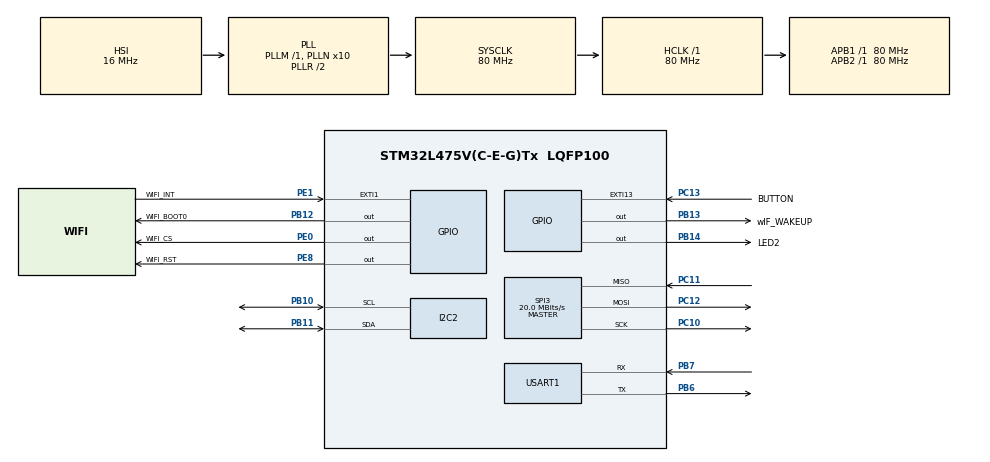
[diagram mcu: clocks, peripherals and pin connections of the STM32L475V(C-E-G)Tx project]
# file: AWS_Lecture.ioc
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FREERTOS.Tasks01=defaultTask,0,2048,StartDefaultTask,Default,NULL,Dynamic,NULL,NULL
FREERTOS.configTOTAL_HEAP_SIZE=51200
Mcu.Family=STM32L4
Mcu.Name=STM32L475V(C-E-G)Tx
Mcu.Package=LQFP100
NVIC.EXTI15_10_IRQn=true\:5\:0\:false\:false\:true\:true\:true\:true
NVIC.EXTI1_IRQn=true\:5\:0\:false\:false\:true\:true\:true\:true
NVIC.PriorityGroup=NVIC_PRIORITYGROUP_4
NVIC.SPI3_IRQn=true\:5\:0\:false\:false\:true\:true\:true\:true
NVIC.TIM6_DAC_IRQn=true\:0\:0\:false\:false\:true\:false\:false\:true
NVIC.TimeBase=TIM6_DAC_IRQn
NVIC.TimeBaseIP=TIM6
PA13\ (JTMS-SWDIO).Mode=Serial_Wire
PA13\ (JTMS-SWDIO).Signal=SYS_JTMS-SWDIO
PA14\ (JTCK-SWCLK).Mode=Serial_Wire
PA14\ (JTCK-SWCLK).Signal=SYS_JTCK-SWCLK
PB10.Mode=I2C
PB10.Signal=I2C2_SCL
PB11.Mode=I2C
PB11.Signal=I2C2_SDA
PB12.GPIO_Label=WIFI_BOOT0
PB12.PinState=GPIO_PIN_RESET
PB12.Signal=GPIO_Output
PB13.GPIO_Label=wIF_WAKEUP
PB13.Signal=GPIO_Output
PB14.GPIO_Label=LED2
PB14.Signal=GPIO_Output
PB6.Mode=Asynchronous
PB6.Signal=USART1_TX
PB7.Mode=Asynchronous
PB7.Signal=USART1_RX
PC10.Mode=Full_Duplex_Master
PC10.Signal=SPI3_SCK
PC11.Mode=Full_Duplex_Master
PC11.Signal=SPI3_MISO
PC12.Mode=Full_Duplex_Master
PC12.Signal=SPI3_MOSI
PC13.GPIO_Label=BUTTON
PC13.Signal=GPXTI13
PC14-OSC32_IN\ (PC14).Mode=LSE-External-Oscillator
PC14-OSC32_IN\ (PC14).Signal=RCC_OSC32_IN
PC15-OSC32_OUT\ (PC15).Mode=LSE-External-Oscillator
PC15-OSC32_OUT\ (PC15).Signal=RCC_OSC32_OUT
PE0.GPIO_Label=WIFI_CS
PE0.PinState=GPIO_PIN_SET
PE0.Signal=GPIO_Output
PE1.GPIO_Label=WIFI_INT
PE1.Signal=GPXTI1
PE8.GPIO_Label=WIFI_RST
PE8.PinState=GPIO_PIN_SET
PE8.Signal=GPIO_Output
ProjectManager.HeapSize=0x200
ProjectManager.StackSize=0x400
ProjectManager.TargetToolchain=TrueSTUDIO
RCC.ADCFreq_Value=64000000
RCC.AHBFreq_Value=80000000
RCC.APB1Freq_Value=80000000
RCC.APB1TimFreq_Value=80000000
RCC.APB2Freq_Value=80000000
RCC.APB2TimFreq_Value=80000000
RCC.CortexFreq_Value=80000000
RCC.HCLKFreq_Value=80000000
RCC.HSE_VALUE=8000000
RCC.HSI_VALUE=16000000
RCC.MSI_VALUE=4000000
RCC.PLLN=10
RCC.PLLSAI1Q=RCC_PLLQ_DIV4
RCC.PLLSourceVirtual=RCC_PLLSOURCE_HSI
RCC.SYSCLKFreq_VALUE=80000000
RCC.SYSCLKSource=RCC_SYSCLKSOURCE_PLLCLK
RCC.USBFreq_Value=32000000
RCC.VCOOutputFreq_Value=160000000
SPI3.BaudRatePrescaler=SPI_BAUDRATEPRESCALER_4
SPI3.CalculateBaudRate=20.0 MBits/s
SPI3.DataSize=SPI_DATASIZE_16BIT
SPI3.Direction=SPI_DIRECTION_2LINES
SPI3.Mode=SPI_MODE_MASTER
SPI3.VirtualType=VM_MASTER
USART1.VirtualMode-Asynchronous=VM_ASYNC
VP_FREERTOS_VS_CMSIS_V1.Mode=CMSIS_V1
VP_RNG_VS_RNG.Mode=RNG_Activate
VP_SYS_VS_tim6.Mode=TIM6
board=custom

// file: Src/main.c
/* USER CODE BEGIN Header */
/**
  ******************************************************************************
  * @file           : main.c
  * @brief          : Main program body
  ******************************************************************************
  * @attention
  *
  * <h2><center>&copy; Copyright (c) 2019 STMicroelectronics.
  * All rights reserved.</center></h2>
  *
  * This software component is licensed by ST under Ultimate Liberty license
  * SLA0044, the "License"; You may not use this file except in compliance with
  * the License. You may obtain a copy of the License at:
  *                             www.st.com/SLA0044
  *
  ******************************************************************************
  */
/* USER CODE END Header */

#include "main.h"
#include "cmsis_os.h"

/* USER CODE BEGIN Includes */
#include <stdio.h>

#include "net_conf.h"
#include "network_connect.h"
#include "aws_st_conf.h"
/* USER CODE END Includes */

I2C_HandleTypeDef hi2c2;

RNG_HandleTypeDef hrng;

SPI_HandleTypeDef hspi3;

UART_HandleTypeDef huart1;

osThreadId defaultTaskHandle;

void SystemClock_Config(void);
static void MX_GPIO_Init(void);
static void MX_I2C2_Init(void);
static void MX_RNG_Init(void);
static void MX_SPI3_Init(void);
static void MX_USART1_UART_Init(void);
void StartDefaultTask(void const * argument);

/* USER CODE BEGIN 0 */
#if (defined(__GNUC__) && !defined(__CC_ARM))
#define PUTCHAR_PROTOTYPE int __io_putchar(int ch)
#define GETCHAR_PROTOTYPE int __io_getchar(void)
#else
#define PUTCHAR_PROTOTYPE int fputc(int ch, FILE *f)
#define GETCHAR_PROTOTYPE int fgetc(FILE *f)
#endif /* __GNUC__ */

/**
  * @brief  Retargets the C library printf function to the USART.
  */
PUTCHAR_PROTOTYPE
{
  /* Place your implementation of fputc here */
  /* e.g. write a character to the USART2 and Loop until the end of transmission */
  while (HAL_OK != HAL_UART_Transmit(&huart1, (uint8_t *) &ch, 1, 30000))
  {
	;
  }
  return ch;
}

/**
  * @brief  Retargets the C library scanf function to the USART.
  */
GETCHAR_PROTOTYPE
{
  /* Place your implementation of fgetc here */
  /* e.g. read a character on USART and loop until the end of read */
  uint8_t ch = 0;
  while (HAL_OK != HAL_UART_Receive(&huart1, (uint8_t *)&ch, 1, 30000))
  {
	;
  }
  return ch;
}

void WIFI_SPI3_Init(void)
{
	MX_SPI3_Init();
}
/* USER CODE END 0 */

int main(void)
{

  /* MCU Configuration--------------------------------------------------------*/

  /* Reset of all peripherals, Initializes the Flash interface and the Systick. */
  HAL_Init();

  /* Configure the system clock */
  SystemClock_Config();

  /* Initialize all configured peripherals */
  MX_GPIO_Init();
  MX_I2C2_Init();
  MX_RNG_Init();
  MX_SPI3_Init();
  MX_USART1_UART_Init();
  /* USER CODE BEGIN 2 */

  printf("START Applications\r\n");			// Must call printf() before FreeRTOS task started.
  /* USER CODE END 2 */

  /* Create the thread(s) */
  /* definition and creation of defaultTask */
  osThreadDef(defaultTask, StartDefaultTask, osPriorityNormal, 0, 2048);
  defaultTaskHandle = osThreadCreate(osThread(defaultTask), NULL);

  /* Start scheduler */
  osKernelStart();

  /* We should never get here as control is now taken by the scheduler */

  /* Infinite loop */
  while (1)
  {

  }
}

void SystemClock_Config(void)
{
  RCC_OscInitTypeDef RCC_OscInitStruct = {0};
  RCC_ClkInitTypeDef RCC_ClkInitStruct = {0};
  RCC_PeriphCLKInitTypeDef PeriphClkInit = {0};

  /** Initializes the CPU, AHB and APB busses clocks
  */
  RCC_OscInitStruct.OscillatorType = RCC_OSCILLATORTYPE_HSI;
  RCC_OscInitStruct.HSIState = RCC_HSI_ON;
  RCC_OscInitStruct.HSICalibrationValue = RCC_HSICALIBRATION_DEFAULT;
  RCC_OscInitStruct.PLL.PLLState = RCC_PLL_ON;
  RCC_OscInitStruct.PLL.PLLSource = RCC_PLLSOURCE_HSI;
  RCC_OscInitStruct.PLL.PLLM = 1;
  RCC_OscInitStruct.PLL.PLLN = 10;
  RCC_OscInitStruct.PLL.PLLP = RCC_PLLP_DIV7;
  RCC_OscInitStruct.PLL.PLLQ = RCC_PLLQ_DIV2;
  RCC_OscInitStruct.PLL.PLLR = RCC_PLLR_DIV2;
  if (HAL_RCC_OscConfig(&RCC_OscInitStruct) != HAL_OK)
  {
    Error_Handler();
  }
  /** Initializes the CPU, AHB and APB busses clocks
  */
  RCC_ClkInitStruct.ClockType = RCC_CLOCKTYPE_HCLK|RCC_CLOCKTYPE_SYSCLK
                              |RCC_CLOCKTYPE_PCLK1|RCC_CLOCKTYPE_PCLK2;
  RCC_ClkInitStruct.SYSCLKSource = RCC_SYSCLKSOURCE_PLLCLK;
  RCC_ClkInitStruct.AHBCLKDivider = RCC_SYSCLK_DIV1;
  RCC_ClkInitStruct.APB1CLKDivider = RCC_HCLK_DIV1;
  RCC_ClkInitStruct.APB2CLKDivider = RCC_HCLK_DIV1;

  if (HAL_RCC_ClockConfig(&RCC_ClkInitStruct, FLASH_LATENCY_4) != HAL_OK)
  {
    Error_Handler();
  }
  PeriphClkInit.PeriphClockSelection = RCC_PERIPHCLK_USART1|RCC_PERIPHCLK_I2C2
                              |RCC_PERIPHCLK_RNG;
  PeriphClkInit.Usart1ClockSelection = RCC_USART1CLKSOURCE_PCLK2;
  PeriphClkInit.I2c2ClockSelection = RCC_I2C2CLKSOURCE_PCLK1;
  PeriphClkInit.RngClockSelection = RCC_RNGCLKSOURCE_PLLSAI1;
  PeriphClkInit.PLLSAI1.PLLSAI1Source = RCC_PLLSOURCE_HSI;
  PeriphClkInit.PLLSAI1.PLLSAI1M = 1;
  PeriphClkInit.PLLSAI1.PLLSAI1N = 8;
  PeriphClkInit.PLLSAI1.PLLSAI1P = RCC_PLLP_DIV7;
  PeriphClkInit.PLLSAI1.PLLSAI1Q = RCC_PLLQ_DIV4;
  PeriphClkInit.PLLSAI1.PLLSAI1R = RCC_PLLR_DIV2;
  PeriphClkInit.PLLSAI1.PLLSAI1ClockOut = RCC_PLLSAI1_48M2CLK;
  if (HAL_RCCEx_PeriphCLKConfig(&PeriphClkInit) != HAL_OK)
  {
    Error_Handler();
  }
  /** Configure the main internal regulator output voltage
  */
  if (HAL_PWREx_ControlVoltageScaling(PWR_REGULATOR_VOLTAGE_SCALE1) != HAL_OK)
  {
    Error_Handler();
  }
}

static void MX_I2C2_Init(void)
{

  hi2c2.Instance = I2C2;
  hi2c2.Init.Timing = 0x10909CEC;
  hi2c2.Init.OwnAddress1 = 0;
  hi2c2.Init.AddressingMode = I2C_ADDRESSINGMODE_7BIT;
  hi2c2.Init.DualAddressMode = I2C_DUALADDRESS_DISABLE;
  hi2c2.Init.OwnAddress2 = 0;
  hi2c2.Init.OwnAddress2Masks = I2C_OA2_NOMASK;
  hi2c2.Init.GeneralCallMode = I2C_GENERALCALL_DISABLE;
  hi2c2.Init.NoStretchMode = I2C_NOSTRETCH_DISABLE;
  if (HAL_I2C_Init(&hi2c2) != HAL_OK)
  {
    Error_Handler();
  }
  /** Configure Analogue filter
  */
  if (HAL_I2CEx_ConfigAnalogFilter(&hi2c2, I2C_ANALOGFILTER_ENABLE) != HAL_OK)
  {
    Error_Handler();
  }
  /** Configure Digital filter
  */
  if (HAL_I2CEx_ConfigDigitalFilter(&hi2c2, 0) != HAL_OK)
  {
    Error_Handler();
  }

}

static void MX_RNG_Init(void)
{

  hrng.Instance = RNG;
  if (HAL_RNG_Init(&hrng) != HAL_OK)
  {
    Error_Handler();
  }

}

static void MX_SPI3_Init(void)
{

  /* SPI3 parameter configuration*/
  hspi3.Instance = SPI3;
  hspi3.Init.Mode = SPI_MODE_MASTER;
  hspi3.Init.Direction = SPI_DIRECTION_2LINES;
  hspi3.Init.DataSize = SPI_DATASIZE_16BIT;
  hspi3.Init.CLKPolarity = SPI_POLARITY_LOW;
  hspi3.Init.CLKPhase = SPI_PHASE_1EDGE;
  hspi3.Init.NSS = SPI_NSS_SOFT;
  hspi3.Init.BaudRatePrescaler = SPI_BAUDRATEPRESCALER_4;
  hspi3.Init.FirstBit = SPI_FIRSTBIT_MSB;
  hspi3.Init.TIMode = SPI_TIMODE_DISABLE;
  hspi3.Init.CRCCalculation = SPI_CRCCALCULATION_DISABLE;
  hspi3.Init.CRCPolynomial = 7;
  hspi3.Init.CRCLength = SPI_CRC_LENGTH_DATASIZE;
  hspi3.Init.NSSPMode = SPI_NSS_PULSE_ENABLE;
  if (HAL_SPI_Init(&hspi3) != HAL_OK)
  {
    Error_Handler();
  }

}

static void MX_USART1_UART_Init(void)
{

  huart1.Instance = USART1;
  huart1.Init.BaudRate = 115200;
  huart1.Init.WordLength = UART_WORDLENGTH_8B;
  huart1.Init.StopBits = UART_STOPBITS_1;
  huart1.Init.Parity = UART_PARITY_NONE;
  huart1.Init.Mode = UART_MODE_TX_RX;
  huart1.Init.HwFlowCtl = UART_HWCONTROL_NONE;
  huart1.Init.OverSampling = UART_OVERSAMPLING_16;
  huart1.Init.OneBitSampling = UART_ONE_BIT_SAMPLE_DISABLE;
  huart1.AdvancedInit.AdvFeatureInit = UART_ADVFEATURE_NO_INIT;
  if (HAL_UART_Init(&huart1) != HAL_OK)
  {
    Error_Handler();
  }

}

static void MX_GPIO_Init(void)
{
  GPIO_InitTypeDef GPIO_InitStruct = {0};

  /* GPIO Ports Clock Enable */
  __HAL_RCC_GPIOC_CLK_ENABLE();
  __HAL_RCC_GPIOE_CLK_ENABLE();
  __HAL_RCC_GPIOB_CLK_ENABLE();
  __HAL_RCC_GPIOA_CLK_ENABLE();

  /*Configure GPIO pin Output Level */
  HAL_GPIO_WritePin(GPIOE, WIFI_RST_Pin|WIFI_CS_Pin, GPIO_PIN_SET);

  /*Configure GPIO pin Output Level */
  HAL_GPIO_WritePin(GPIOB, WIFI_BOOT0_Pin|wIF_WAKEUP_Pin|LED2_Pin, GPIO_PIN_RESET);

  /*Configure GPIO pin : BUTTON_Pin */
  GPIO_InitStruct.Pin = BUTTON_Pin;
  GPIO_InitStruct.Mode = GPIO_MODE_IT_RISING;
  GPIO_InitStruct.Pull = GPIO_NOPULL;
  HAL_GPIO_Init(BUTTON_GPIO_Port, &GPIO_InitStruct);

  /*Configure GPIO pins : WIFI_RST_Pin WIFI_CS_Pin */
  GPIO_InitStruct.Pin = WIFI_RST_Pin|WIFI_CS_Pin;
  GPIO_InitStruct.Mode = GPIO_MODE_OUTPUT_PP;
  GPIO_InitStruct.Pull = GPIO_NOPULL;
  GPIO_InitStruct.Speed = GPIO_SPEED_FREQ_LOW;
  HAL_GPIO_Init(GPIOE, &GPIO_InitStruct);

  /*Configure GPIO pins : WIFI_BOOT0_Pin wIF_WAKEUP_Pin LED2_Pin */
  GPIO_InitStruct.Pin = WIFI_BOOT0_Pin|wIF_WAKEUP_Pin|LED2_Pin;
  GPIO_InitStruct.Mode = GPIO_MODE_OUTPUT_PP;
  GPIO_InitStruct.Pull = GPIO_NOPULL;
  GPIO_InitStruct.Speed = GPIO_SPEED_FREQ_LOW;
  HAL_GPIO_Init(GPIOB, &GPIO_InitStruct);

  /*Configure GPIO pin : WIFI_INT_Pin */
  GPIO_InitStruct.Pin = WIFI_INT_Pin;
  GPIO_InitStruct.Mode = GPIO_MODE_IT_RISING;
  GPIO_InitStruct.Pull = GPIO_NOPULL;
  HAL_GPIO_Init(WIFI_INT_GPIO_Port, &GPIO_InitStruct);

  /* EXTI interrupt init*/
  HAL_NVIC_SetPriority(EXTI1_IRQn, 5, 0);
  HAL_NVIC_EnableIRQ(EXTI1_IRQn);

  HAL_NVIC_SetPriority(EXTI15_10_IRQn, 5, 0);
  HAL_NVIC_EnableIRQ(EXTI15_10_IRQn);

}

void StartDefaultTask(void const * argument)
{

  /* USER CODE BEGIN 5 */
	network_init();
	aws_iot_conf_init();
	aws_iot_run(NULL);

  /* Infinite loop */
	for(;;)
	{
		//printf("test\r\n");
		osDelay(1000);
	}
  /* USER CODE END 5 */
}

void HAL_TIM_PeriodElapsedCallback(TIM_HandleTypeDef *htim)
{
  if (htim->Instance == TIM6) {
    HAL_IncTick();
  }
}

/* USER CODE BEGIN 7 */
void HAL_GPIO_EXTI_Callback(uint16_t GPIO_Pin)
{
	switch (GPIO_Pin)
	{
		case (GPIO_PIN_1):
		{
			SPI_WIFI_ISR();
			break;
		}
	}
}
/* USER CODE END 7 */

void Error_Handler(void)
{
}

/************************ (C) COPYRIGHT STMicroelectronics *****END OF FILE****/
